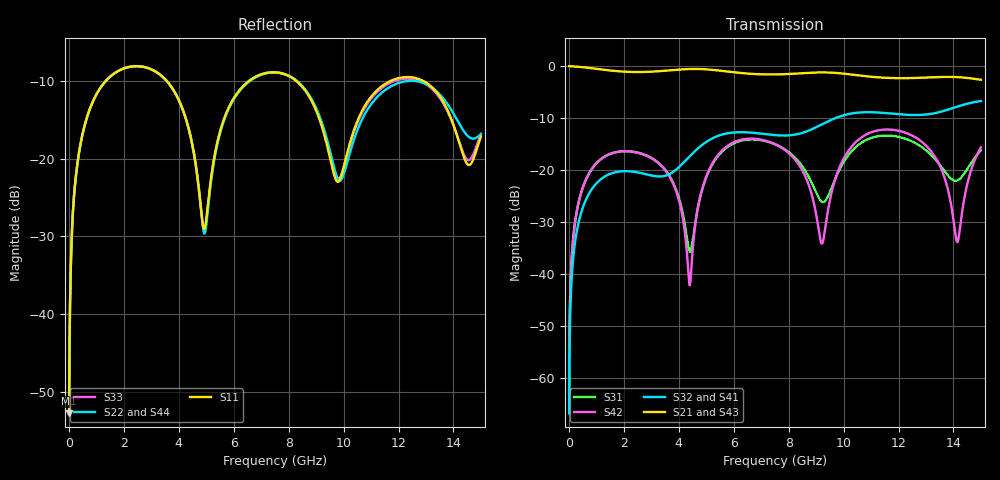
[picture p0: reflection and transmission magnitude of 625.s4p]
! Created with skrf 1.8.0 (http://scikit-rf.org).
# GHz S RI R 50.0
!freq ReS11 ImS11 ReS12 ImS12 ReS13 ImS13
! ReS14 ImS14
! ReS21 ImS21 ReS22 ImS22 ReS23 ImS23
! ReS24 ImS24
! ReS31 ImS31 ReS32 ImS32 ReS33 ImS33
! ReS34 ImS34
! ReS41 ImS41 ReS42 ImS42 ReS43 ImS43
! ReS44 ImS44
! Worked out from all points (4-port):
!   2499 points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, 5 MHz to 15 GHz, reference 50 ohm
!   strongest paths, dB at 5 MHz, 3.476 GHz, 7.19 GHz, 11.1 GHz, 15 GHz:
!     S21: 0.0, -0.9, -1.6, -2.1, -2.6
!     S43: 0.0, -0.9, -1.6, -2.1, -2.6
!     S32: -66.8, -21.1, -13.1, -8.9, -6.7
!     S41: -66.8, -21.2, -13.2, -8.9, -6.7
!     S42: -62.8, -19.9, -14.4, -12.6, -15.6
!     S31: -62.8, -19.8, -14.5, -13.7, -16.2
!   lowest |S11| = -52.8 dB at 5 MHz (marker M1), VSWR 1.00, Z = 50.2 + j0.139 ohm
!   |S11| at or under -10 dB: 3.564 GHz to 6.549 GHz (2.985 GHz wide, 59 % of centre); 8.286 GHz to 11.7 GHz (3.411 GHz wide, 34.1 % of centre); 12.92 GHz to end of sweep (the widest 3 of 4)
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0.005  0.00182 0.00138  0.9981 -0.00354  9.18e-05 0.000715  -8.92e-05 -0.00045
       0.9981 -0.00354  0.00182 0.00138  -8.92e-05 -0.00045  9.18e-05 0.000715
       9.18e-05 0.000715  -8.92e-05 -0.00045  0.00182 0.00138  0.9981 -0.00354
       -8.92e-05 -0.00045  9.18e-05 0.000715  0.9981 -0.00354  0.00182 0.00138
0.3626511  0.0361 0.1025  0.95 -0.2522  0.0172 0.0474  -0.0143 -0.029
           0.95 -0.2522  0.0361 0.1025  -0.0143 -0.029  0.0172 0.0475
           0.0172 0.0474  -0.0143 -0.029  0.0361 0.1025  0.95 -0.2522
           -0.0143 -0.029  0.0172 0.0475  0.95 -0.2522  0.0361 0.1025
1.77574  0.3418 0.1316  0.3659 -0.8143  0.1467 0.0308  -0.0933 0.0233
         0.3659 -0.8143  0.3419 0.1316  -0.0935 0.0235  0.1462 0.0321
         0.1467 0.0308  -0.0935 0.0235  0.3417 0.1317  0.3659 -0.8143
         -0.0933 0.0233  0.1462 0.0321  0.3659 -0.8143  0.342 0.1315
4.395581  0.076 -0.1257  -0.8542 -0.3849  -0.0154 -0.00571  -0.0527 0.125
          -0.8542 -0.3849  0.0751 -0.1274  -0.0512 0.1257  -0.00752 -0.00205
          -0.0154 -0.00571  -0.0512 0.1257  0.0757 -0.1254  -0.8543 -0.3849
          -0.0527 0.125  -0.00752 -0.00205  -0.8543 -0.3849  0.0752 -0.127
7.453105  0.3604 -0.00994  -0.0856 0.8262  0.1653 -0.0698  0.2104 -0.0471
          -0.0856 0.8262  0.3595 -0.00355  0.2112 -0.0517  0.1672 -0.0668
          0.1653 -0.0698  0.2112 -0.0517  0.3607 -0.00696  -0.0859 0.8256
          0.2104 -0.0471  0.1672 -0.0668  -0.0859 0.8256  0.3621 -0.00608
10.17924  0.0968 0.0655  0.8349 -0.0467  0.0276 0.1372  -0.0362 -0.3435
          0.8349 -0.0467  0.0892 0.0482  -0.0448 -0.3427  0.0703 0.1365
          0.0276 0.1372  -0.0448 -0.3427  0.0975 0.0597  0.8354 -0.0445
          -0.0362 -0.3435  0.0703 0.1365  0.8354 -0.0445  0.088 0.0449
15  0.1205 0.0694  -0.7333 -0.0872  -0.0209 0.1534  -0.0368 0.4603
    -0.7333 -0.0872  0.1438 0.01  -0.0191 0.4606  0.0802 0.1444
    -0.0209 0.1534  -0.0191 0.4606  0.1272 0.0685  -0.7334 -0.0883
    -0.0368 0.4603  0.0802 0.1444  -0.7334 -0.0883  0.1381 0.0143
